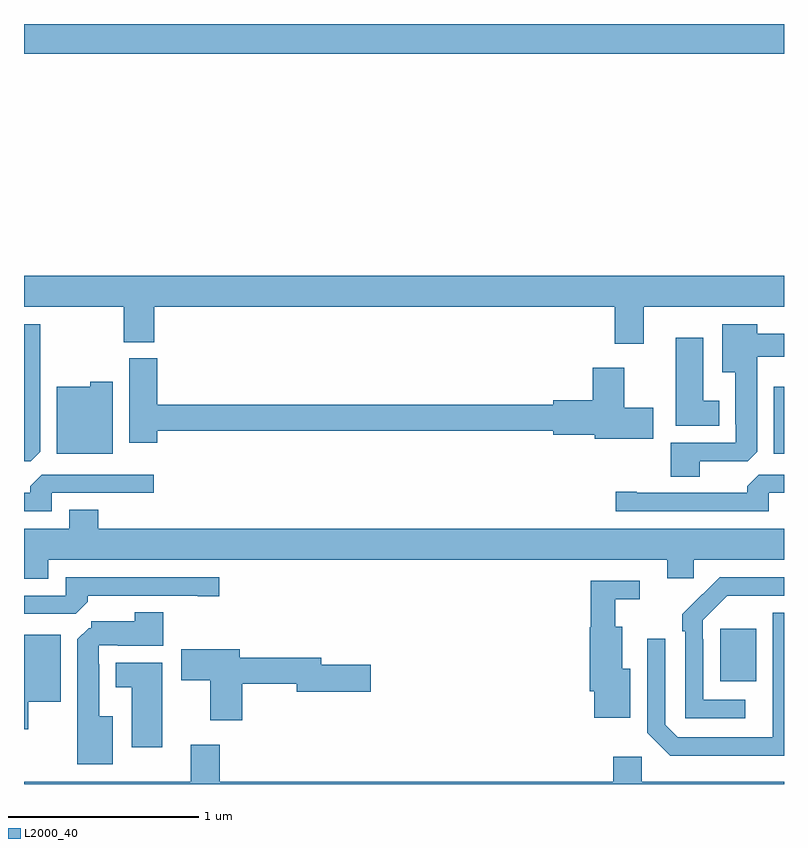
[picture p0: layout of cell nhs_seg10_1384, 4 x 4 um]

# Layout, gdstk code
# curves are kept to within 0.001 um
import gdstk
lib = gdstk.Library(unit=1e-6, precision=1e-09)
def R(c, l, rs):  # rectangles x0, y0, x1, y1
    for r in rs: c.add(gdstk.rectangle(r[:2], r[2:], *l))
def P(c, l, *ps):  # polygons
    for p in ps: c.add(gdstk.Polygon(p, *l))
L2000_40 = (2000, 40)

nhs_seg10_1384 = lib.new_cell('nhs_seg10_1384')
R(nhs_seg10_1384, L2000_40, [(186.665,1269.041,186.853,1269.316), (186.947,1270.238,187,1270.591), (183,1272.344,187,1272.5)])
P(nhs_seg10_1384, L2000_40, [(186.262,1271.012),(187,1271.012),(187,1271.176),(183,1271.176),(183,1271.012),(183.526,1271.012),(183.526,1270.825),(183.686,1270.825),(183.686,1271.012),(186.11,1271.012),(186.11,1270.818),(186.262,1270.818)],
  [(186.556,1270.2),(186.81,1270.2),(186.859,1270.249),(186.859,1270.748),(187,1270.748),(187,1270.87),(186.859,1270.87),(186.859,1270.921),(186.674,1270.921),(186.674,1270.667),(186.743,1270.667),(186.743,1270.393),(186.747,1270.393),(186.747,1270.296),(186.404,1270.296),(186.404,1270.117),(186.556,1270.117)],
  [(183.085,1270.249),(183.085,1270.921),(183,1270.921),(183,1270.2),(183.036,1270.2)],
  [(186.658,1270.516),(186.574,1270.516),(186.574,1270.849),(186.431,1270.849),(186.431,1270.385),(186.658,1270.385)],
  [(183.701,1270.36),(185.786,1270.36),(185.786,1270.337),(186.005,1270.337),(186.005,1270.316),(186.313,1270.316),(186.313,1270.479),(186.16,1270.479),(186.16,1270.69),(185.993,1270.69),(185.993,1270.52),(185.786,1270.52),(185.786,1270.496),(183.701,1270.496),(183.701,1270.74),(183.554,1270.74),(183.554,1270.296),(183.701,1270.296)],
  [(183.466,1270.618),(183.348,1270.618),(183.348,1270.591),(183.173,1270.591),(183.173,1270.238),(183.466,1270.238)],
  [(183.147,1270.032),(183.682,1270.032),(183.682,1270.128),(183.093,1270.128),(183.032,1270.066),(183.032,1270.032),(183,1270.032),(183,1269.936),(183.147,1269.936)],
  [(186.921,1270.032),(187,1270.032),(187,1270.128),(186.867,1270.128),(186.806,1270.066),(186.806,1270.032),(186.226,1270.032),(186.226,1270.037),(186.114,1270.037),(186.114,1269.936),(186.921,1269.936)],
  [(183.127,1269.68),(186.386,1269.68),(186.386,1269.582),(186.525,1269.582),(186.525,1269.68),(187,1269.68),(187,1269.844),(183.392,1269.844),(183.392,1269.943),(183.239,1269.943),(183.239,1269.844),(183,1269.844),(183,1269.581),(183.127,1269.581)],
  [(186.796,1268.943),(186.576,1268.943),(186.576,1269.263),(186.573,1269.263),(186.573,1269.363),(186.702,1269.492),(187,1269.492),(187,1269.588),(186.662,1269.588),(186.465,1269.393),(186.465,1269.305),(186.48,1269.305),(186.48,1268.847),(186.796,1268.847)],
  [(183.335,1269.458),(183.335,1269.492),(183.914,1269.492),(183.914,1269.487),(184.027,1269.487),(184.027,1269.588),(183.219,1269.588),(183.219,1269.492),(183,1269.492),(183,1269.396),(183.273,1269.396)],
  [(186.19,1269.106),(186.148,1269.106),(186.148,1269.328),(186.112,1269.328),(186.112,1269.473),(186.241,1269.473),(186.241,1269.57),(185.983,1269.57),(185.983,1269.324),(185.978,1269.324),(185.978,1268.988),(186.002,1268.988),(186.002,1268.849),(186.19,1268.849)],
  [(183.466,1268.857),(183.397,1268.857),(183.397,1269.131),(183.393,1269.131),(183.393,1269.231),(183.493,1269.231),(183.493,1269.227),(183.733,1269.227),(183.733,1269.403),(183.584,1269.403),(183.584,1269.357),(183.354,1269.357),(183.354,1269.321),(183.341,1269.321),(183.281,1269.261),(183.281,1268.603),(183.466,1268.603)],
  [(187,1269.402),(186.942,1269.402),(186.942,1268.945),(186.941,1268.945),(186.941,1268.745),(186.441,1268.745),(186.375,1268.811),(186.375,1269.265),(186.279,1269.265),(186.279,1268.769),(186.4,1268.648),(187,1268.648)],
  [(183.022,1268.933),(183.193,1268.933),(183.193,1269.286),(183,1269.286),(183,1268.787),(183.022,1268.787)],
  [(184.148,1269.028),(184.436,1269.028),(184.436,1268.986),(184.825,1268.986),(184.825,1269.128),(184.564,1269.128),(184.564,1269.164),(184.135,1269.164),(184.135,1269.208),(183.828,1269.208),(183.828,1269.046),(183.98,1269.046),(183.98,1268.835),(184.148,1268.835)],
  [(183.727,1269.139),(183.482,1269.139),(183.482,1269.008),(183.566,1269.008),(183.566,1268.694),(183.727,1268.694)],
  [(187,1268.512),(186.252,1268.512),(186.252,1268.644),(186.101,1268.644),(186.101,1268.512),(184.031,1268.512),(184.031,1268.707),(183.878,1268.707),(183.878,1268.512),(183,1268.512),(183,1268.5),(187,1268.5)])

lib.write_gds('nhs_seg10_1384.gds')
